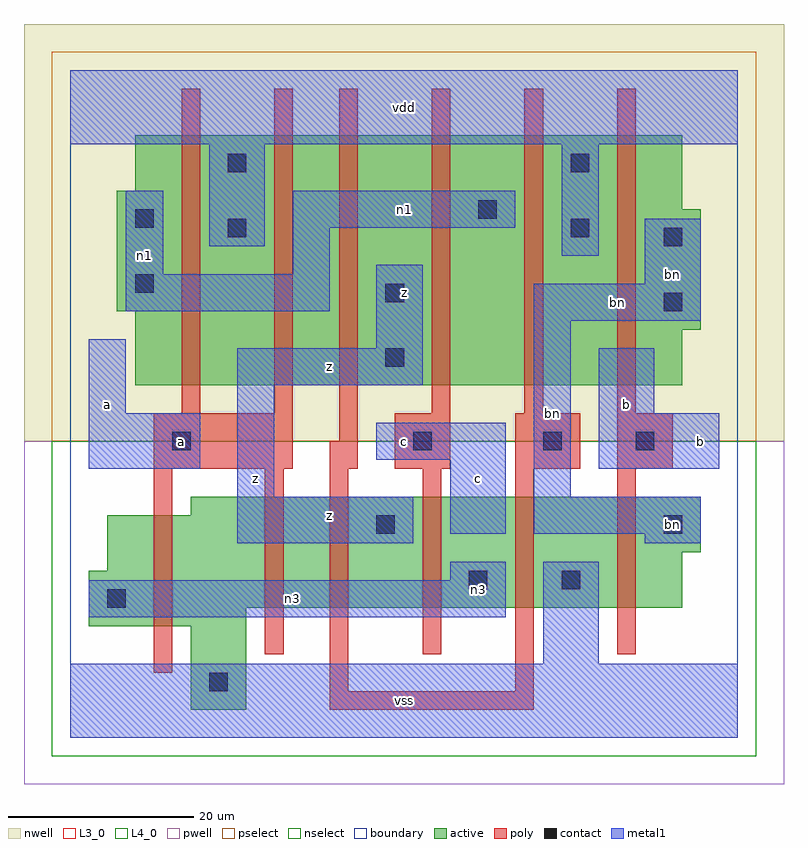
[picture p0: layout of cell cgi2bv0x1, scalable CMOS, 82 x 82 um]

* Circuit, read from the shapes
.subckt cgi2bv0x1 a b bn c n1 n3 vdd vss z
M1 vss a n3 VSUBS nfet w=12u l=2u
M2 n2 a vss VSUBS nfet w=12u l=2u
M3 z bn n2 VSUBS nfet w=12u l=2u
M4 n3 c z VSUBS nfet w=12u l=2u
M5 vss bn n3 VSUBS nfet w=12u l=2u
M6 bn b vss VSUBS nfet w=12u l=2u
M7 vdd a n1 n4 pfet w=27u l=2u
M8 n5 a vdd n4 pfet w=27u l=2u
M9 z bn n5 n4 pfet w=27u l=2u
M10 n1 c z n4 pfet w=27u l=2u
M11 vdd bn n1 n4 pfet w=27u l=2u
M12 bn b vdd n4 pfet w=27u l=2u
.ends

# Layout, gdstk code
import gdstk
lib = gdstk.Library(unit=1e-6, precision=1e-09)
def R(c, l, rs):  # rectangles x0, y0, x1, y1
    for r in rs: c.add(gdstk.rectangle(r[:2], r[2:], *l))
def A(c, l, x, y, w, h, nx, ny, dx, dy):  # array of equal rectangles
    R(c, l, [(x+i*dx, y+j*dy, x+i*dx+w, y+j*dy+h) for i in range(nx) for j in range(ny)])
L3_0 = (3, 0)
L4_0 = (4, 0)
contact = (25, 0)
pwell = (41, 0)
nwell = (42, 0)
active = (43, 0)
pselect = (44, 0)
nselect = (45, 0)
poly = (46, 0)
metal1 = (49, 0)
boundary = (63, 0)

cgi2bv0x1 = lib.new_cell('cgi2bv0x1')
R(cgi2bv0x1, L3_0, [(13,3,19,12), (2,12,19,14), (2,14,66,18), (4,18,66,20), (4,20,68,24), (13,24,68,26)])
R(cgi2bv0x1, L4_0, [(7,38,66,44), (7,44,68,46), (5,46,68,57), (5,57,66,59), (7,59,66,65)])
R(cgi2bv0x1, contact, [(15,5,17,7), (4,14,6,16), (43,16,45,18), (53,16,55,18), (33,22,35,24), (64,22,66,24), (11,31,13,33), (37,31,39,33), (51,31,53,33), (61,31,63,33), (34,40,36,42), (64,46,66,48), (34,47,36,49), (7,48,9,50), (64,53,66,55), (17,54,19,56), (54,54,56,56), (7,55,9,57), (44,56,46,58), (17,61,19,63), (54,61,56,63)])
R(cgi2bv0x1, pwell, [(-5,-5,77,32)])
R(cgi2bv0x1, nwell, [(-5,32,77,77)])
R(cgi2bv0x1, active, [(13,3,19,12), (2,12,19,14), (2,14,66,18), (4,18,66,20), (4,20,68,24), (13,24,68,26), (7,38,66,44), (7,44,68,46), (5,46,68,57), (5,57,66,59), (7,59,66,65)])
R(cgi2bv0x1, pselect, [(-2,32,74,74)])
R(cgi2bv0x1, nselect, [(-2,-2,74,32)])
A(cgi2bv0x1, poly, 39, 35, 2, 35, 3, 1, 10, 0)
R(cgi2bv0x1, poly, [(28,3,50,5), (28,5,30,29), (48,5,50,29), (9,7,11,29), (21,9,23,29), (38,9,40,29), (59,9,61,29), (9,29,24,35), (28,29,31,32), (35,29,41,35), (48,29,55,35), (59,29,65,35), (29,32,31,70), (12,35,14,70), (22,35,24,70)])
R(cgi2bv0x1, metal1, [(0,0,72,8), (51,8,57,19), (2,13,47,17), (41,17,47,19), (18,21,37,26), (62,21,68,22), (41,22,47,30), (50,22,68,26), (18,26,22,38), (50,26,54,45), (2,29,14,35), (57,29,70,35), (33,30,47,34), (2,35,6,43), (57,35,63,42), (18,38,38,42), (33,42,38,51), (50,45,68,49), (6,46,28,50), (62,49,68,56), (6,50,10,59), (24,50,28,55), (53,52,57,64), (15,53,21,64), (24,55,48,59), (0,64,72,72)])
R(cgi2bv0x1, boundary, [(0,0,72,72)])
cgi2bv0x1.add(gdstk.Label('n1', (8,52), layer=49, texttype=0))
cgi2bv0x1.add(gdstk.Label('n3', (24,15), layer=49, texttype=0))
cgi2bv0x1.add(gdstk.Label('n3', (44,16), layer=49, texttype=0))
cgi2bv0x1.add(gdstk.Label('n1', (36,57), layer=49, texttype=0))
cgi2bv0x1.add(gdstk.Label('bn', (65,23), layer=49, texttype=0))
cgi2bv0x1.add(gdstk.Label('bn', (52,35), layer=49, texttype=0))
cgi2bv0x1.add(gdstk.Label('bn', (59,47), layer=49, texttype=0))
cgi2bv0x1.add(gdstk.Label('bn', (65,50), layer=49, texttype=0))
cgi2bv0x1.add(gdstk.Label('a', (12,32), layer=49, texttype=0))
cgi2bv0x1.add(gdstk.Label('a', (4,36), layer=49, texttype=0))
cgi2bv0x1.add(gdstk.Label('z', (20,28), layer=49, texttype=0))
cgi2bv0x1.add(gdstk.Label('z', (28,24), layer=49, texttype=0))
cgi2bv0x1.add(gdstk.Label('z', (28,40), layer=49, texttype=0))
cgi2bv0x1.add(gdstk.Label('vss', (36,4), layer=49, texttype=0))
cgi2bv0x1.add(gdstk.Label('c', (36,32), layer=49, texttype=0))
cgi2bv0x1.add(gdstk.Label('c', (44,28), layer=49, texttype=0))
cgi2bv0x1.add(gdstk.Label('z', (36,48), layer=49, texttype=0))
cgi2bv0x1.add(gdstk.Label('vdd', (36,68), layer=49, texttype=0))
cgi2bv0x1.add(gdstk.Label('b', (68,32), layer=49, texttype=0))
cgi2bv0x1.add(gdstk.Label('b', (60,36), layer=49, texttype=0))

lib.write_gds('cgi2bv0x1.gds')
